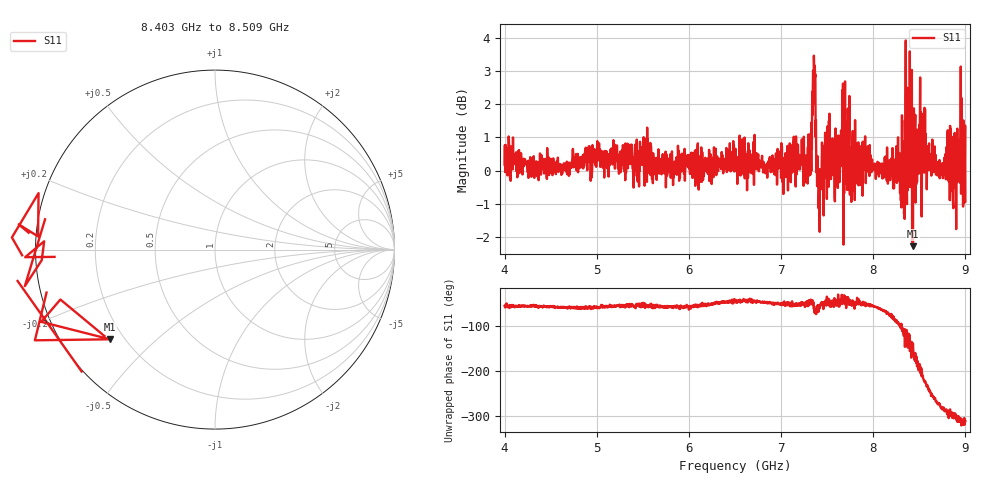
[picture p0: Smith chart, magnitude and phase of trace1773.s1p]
! Created with skrf 1.8.0 (http://scikit-rf.org).
# Hz S RI R 50.0
!freq ReS11 ImS11
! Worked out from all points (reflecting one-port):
!   1601 points, 4 GHz to 9 GHz, reference 50 ohm
!   lowest |S11| = -2.3 dB at 8.431 GHz (marker M1), VSWR 7.66, Z = 7.4 - j18.1 ohm
!   phase of S11 starts at -57 deg and turns -254 deg over the sweep
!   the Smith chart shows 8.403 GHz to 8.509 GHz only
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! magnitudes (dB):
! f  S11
! 4 GHz  0.2
! 4.625 GHz  -0.1
! 5.25 GHz  0.1
! 5.875 GHz  0.0
! 6.5 GHz  0.4
! 7.125 GHz  0.3
! 7.294 GHz  -0.1
! 7.309 GHz  0.1
! 7.356 GHz  3.5
! 7.369 GHz  2.8
! 7.4 GHz  -0.5
! 7.412 GHz  -0.7
! 7.503 GHz  0.5
! 7.591 GHz  1.3
! 7.669 GHz  0.9
! 7.75 GHz  0.5
! 8.316 GHz  -0.3
! 8.334 GHz  -1.3
! 8.375 GHz  -0.6
! 8.431 GHz  -2.3
! 8.447 GHz  1.4
! 8.459 GHz  -1.0
! 8.522 GHz  1.7
! 8.606 GHz  0.8
! 8.822 GHz  -0.1
! 8.875 GHz  0.5
! 8.959 GHz  2.2
! 9 GHz  -0.9
